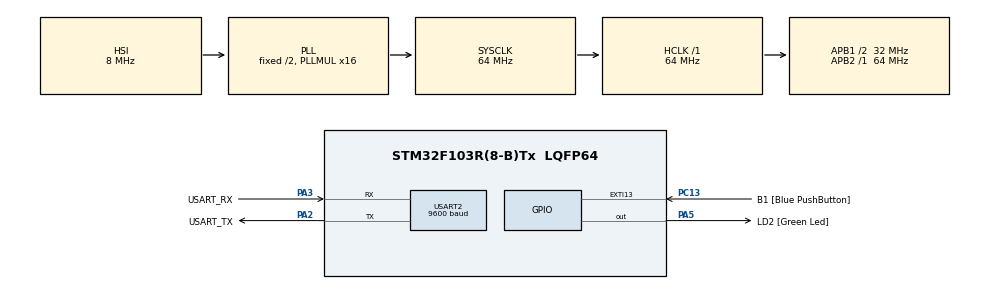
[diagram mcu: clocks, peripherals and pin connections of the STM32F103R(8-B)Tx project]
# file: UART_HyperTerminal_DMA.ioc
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Dma.Request0=USART2_RX
Dma.Request1=USART2_TX
Dma.USART2_RX.0.Direction=DMA_PERIPH_TO_MEMORY
Dma.USART2_RX.0.Instance=DMA1_Channel6
Dma.USART2_RX.0.MemDataAlignment=DMA_MDATAALIGN_BYTE
Dma.USART2_RX.0.MemInc=DMA_MINC_ENABLE
Dma.USART2_RX.0.Mode=DMA_NORMAL
Dma.USART2_RX.0.PeriphDataAlignment=DMA_PDATAALIGN_BYTE
Dma.USART2_RX.0.PeriphInc=DMA_PINC_DISABLE
Dma.USART2_RX.0.Priority=DMA_PRIORITY_HIGH
Dma.USART2_TX.1.Direction=DMA_MEMORY_TO_PERIPH
Dma.USART2_TX.1.Instance=DMA1_Channel7
Dma.USART2_TX.1.MemDataAlignment=DMA_MDATAALIGN_BYTE
Dma.USART2_TX.1.MemInc=DMA_MINC_ENABLE
Dma.USART2_TX.1.Mode=DMA_NORMAL
Dma.USART2_TX.1.PeriphDataAlignment=DMA_PDATAALIGN_BYTE
Dma.USART2_TX.1.PeriphInc=DMA_PINC_DISABLE
Dma.USART2_TX.1.Priority=DMA_PRIORITY_LOW
Mcu.Family=STM32F1
Mcu.Name=STM32F103R(8-B)Tx
Mcu.Package=LQFP64
NVIC.DMA1_Channel6_IRQn=true\:0\:0\:false\:false\:true\:false\:true\:true
NVIC.DMA1_Channel7_IRQn=true\:0\:1\:true\:false\:true\:false\:true\:true
NVIC.EXTI15_10_IRQn=true\:0\:0\:false\:false\:true\:true\:true\:true
NVIC.PriorityGroup=NVIC_PRIORITYGROUP_3
NVIC.USART2_IRQn=true\:0\:1\:true\:false\:true\:true\:true\:true
PA13.GPIO_Label=TMS
PA13.Mode=Serial_Wire
PA13.Signal=SYS_JTMS-SWDIO
PA14.GPIO_Label=TCK
PA14.Mode=Serial_Wire
PA14.Signal=SYS_JTCK-SWCLK
PA2.GPIO_Label=USART_TX
PA2.GPIO_Mode=GPIO_MODE_AF_PP
PA2.GPIO_PuPd=GPIO_NOPULL
PA2.GPIO_Speed=GPIO_SPEED_FREQ_LOW
PA2.Mode=Asynchronous
PA2.Signal=USART2_TX
PA3.GPIO_Label=USART_RX
PA3.GPIO_Mode=GPIO_MODE_AF_PP
PA3.GPIO_PuPd=GPIO_NOPULL
PA3.GPIO_Speed=GPIO_SPEED_FREQ_LOW
PA3.Mode=Asynchronous
PA3.Signal=USART2_RX
PA5.GPIO_Label=LD2 [Green Led]
PA5.GPIO_ModeDefaultOutputPP=GPIO_MODE_OUTPUT_PP
PA5.GPIO_PuPd=GPIO_NOPULL
PA5.GPIO_Speed=GPIO_SPEED_FREQ_LOW
PA5.Signal=GPIO_Output
PB3.GPIO_Label=SWO
PB3.Signal=SYS_JTDO-TRACESWO
PC13-TAMPER-RTC.GPIO_Label=B1 [Blue PushButton]
PC13-TAMPER-RTC.GPIO_PuPd=GPIO_NOPULL
PC13-TAMPER-RTC.Signal=GPXTI13
PC14-OSC32_IN.Mode=LSE-External-Oscillator
PC14-OSC32_IN.Signal=RCC_OSC32_IN
PC15-OSC32_OUT.Mode=LSE-External-Oscillator
PC15-OSC32_OUT.Signal=RCC_OSC32_OUT
PD0-OSC_IN.Mode=HSE-External-Clock-Source
PD0-OSC_IN.Signal=RCC_OSC_IN
PD1-OSC_OUT.Mode=HSE-External-Clock-Source
PD1-OSC_OUT.Signal=RCC_OSC_OUT
ProjectManager.HeapSize=0x200
ProjectManager.StackSize=0x400
ProjectManager.TargetToolchain=STM32CubeIDE
RCC.AHBFreq_Value=64000000
RCC.APB1CLKDivider=RCC_HCLK_DIV2
RCC.APB1Freq_Value=32000000
RCC.APB1TimFreq_Value=64000000
RCC.APB2Freq_Value=64000000
RCC.APB2TimFreq_Value=64000000
RCC.HCLKFreq_Value=64000000
RCC.PLLMUL=RCC_PLL_MUL16
RCC.RTCClockSelection=RCC_RTCCLKSOURCE_LSE
RCC.SYSCLKFreq_VALUE=64000000
RCC.SYSCLKSource=RCC_SYSCLKSOURCE_PLLCLK
RCC.USBFreq_Value=64000000
USART2.BaudRate=9600
USART2.VirtualMode=VM_ASYNC
board=NUCLEO-F103RB

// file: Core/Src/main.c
/* USER CODE BEGIN Header */
/**
  ******************************************************************************
  * @file           : main.c
  * @brief          : Main program body
  ******************************************************************************
  * @attention
  *
  * Copyright (c) 2022 STMicroelectronics.
  * All rights reserved.
  *
  * This software is licensed under terms that can be found in the LICENSE file
  * in the root directory of this software component.
  * If no LICENSE file comes with this software, it is provided AS-IS.
  *
  ******************************************************************************
  */
/* USER CODE END Header */
#include "main.h"

UART_HandleTypeDef huart2;
DMA_HandleTypeDef hdma_usart2_rx;
DMA_HandleTypeDef hdma_usart2_tx;

/* USER CODE BEGIN PV */
/* Buffer used for transmission */
uint8_t aTxBuffer[] = "\n\r ****UART-Hyperterminal communication based on DMA****\n\r Enter 10 characters using keyboard :\n\r";

/* Buffer used for reception */
uint8_t aRxBuffer[RXBUFFERSIZE];
/* USER CODE END PV */

void SystemClock_Config(void);
static void MX_GPIO_Init(void);
static void MX_DMA_Init(void);
static void MX_USART2_UART_Init(void);

int main(void)
{

  /* MCU Configuration--------------------------------------------------------*/

  /* Reset of all peripherals, Initializes the Flash interface and the Systick. */
  HAL_Init();

  /* Configure the system clock */
  SystemClock_Config();

  /* Initialize all configured peripherals */
  MX_GPIO_Init();
  MX_DMA_Init();
  MX_USART2_UART_Init();

  /* Infinite loop */
  /* USER CODE BEGIN WHILE */
  /*##-2- Start the transmission process #####################################*/
  /* User start transmission data through "TxBuffer" buffer */
  if (HAL_UART_Transmit_DMA(&huart2, (uint8_t *)aTxBuffer, TXBUFFERSIZE) != HAL_OK)
  {
    /* Transfer error in transmission process */
    Error_Handler();
  }

  /*##-3- Put UART peripheral in reception process ###########################*/
  /* Any data received will be stored in "RxBuffer" buffer : the number max of
       data received is 10 */
  if (HAL_UART_Receive_DMA(&huart2, (uint8_t *)aRxBuffer, RXBUFFERSIZE) != HAL_OK)
  {
    /* Transfer error in reception process */
    Error_Handler();
  }

  /*##-4- Wait for the end of the transfer ###################################*/
  /*  Before starting a new communication transfer, you need to check the current
        state of the peripheral; if it�s busy you need to wait for the end of current
        transfer before starting a new one.
        For simplicity reasons, this example is just waiting till the end of the
        transfer, but application may perform other tasks while transfer operation
        is ongoing. */
  while (HAL_UART_GetState(&huart2) != HAL_UART_STATE_READY)
  {
  }

  /*##-5- Send the received Buffer ###########################################*/
  if (HAL_UART_Transmit_DMA(&huart2, (uint8_t *)aRxBuffer, RXBUFFERSIZE) != HAL_OK)
  {
    /* Transfer error in transmission process */
    Error_Handler();
  }

  /*##-6- Wait for the end of the transfer ###################################*/
  /*  Before starting a new communication transfer, you need to check the current
        state of the peripheral; if it�s busy you need to wait for the end of current
        transfer before starting a new one.
        For simplicity reasons, this example is just waiting till the end of the
        transfer, but application may perform other tasks while transfer operation
        is ongoing. */
  while (HAL_UART_GetState(&huart2) != HAL_UART_STATE_READY)
  {
  }

  while (1)
  {
    /* USER CODE END WHILE */

    /* USER CODE BEGIN 3 */
    HAL_GPIO_TogglePin(LD2_GPIO_Port, LD2_Pin);
    HAL_Delay(1000);
  }
  /* USER CODE END 3 */
}

void SystemClock_Config(void)
{
  RCC_OscInitTypeDef RCC_OscInitStruct = {0};
  RCC_ClkInitTypeDef RCC_ClkInitStruct = {0};

  /** Initializes the RCC Oscillators according to the specified parameters
  * in the RCC_OscInitTypeDef structure.
  */
  RCC_OscInitStruct.OscillatorType = RCC_OSCILLATORTYPE_HSI;
  RCC_OscInitStruct.HSIState = RCC_HSI_ON;
  RCC_OscInitStruct.HSICalibrationValue = RCC_HSICALIBRATION_DEFAULT;
  RCC_OscInitStruct.PLL.PLLState = RCC_PLL_ON;
  RCC_OscInitStruct.PLL.PLLSource = RCC_PLLSOURCE_HSI_DIV2;
  RCC_OscInitStruct.PLL.PLLMUL = RCC_PLL_MUL16;
  if (HAL_RCC_OscConfig(&RCC_OscInitStruct) != HAL_OK)
  {
    Error_Handler();
  }

  /** Initializes the CPU, AHB and APB buses clocks
  */
  RCC_ClkInitStruct.ClockType = RCC_CLOCKTYPE_HCLK|RCC_CLOCKTYPE_SYSCLK
                              |RCC_CLOCKTYPE_PCLK1|RCC_CLOCKTYPE_PCLK2;
  RCC_ClkInitStruct.SYSCLKSource = RCC_SYSCLKSOURCE_PLLCLK;
  RCC_ClkInitStruct.AHBCLKDivider = RCC_SYSCLK_DIV1;
  RCC_ClkInitStruct.APB1CLKDivider = RCC_HCLK_DIV2;
  RCC_ClkInitStruct.APB2CLKDivider = RCC_HCLK_DIV1;

  if (HAL_RCC_ClockConfig(&RCC_ClkInitStruct, FLASH_LATENCY_2) != HAL_OK)
  {
    Error_Handler();
  }
}

static void MX_USART2_UART_Init(void)
{

  huart2.Instance = USART2;
  huart2.Init.BaudRate = 9600;
  huart2.Init.WordLength = UART_WORDLENGTH_8B;
  huart2.Init.StopBits = UART_STOPBITS_1;
  huart2.Init.Parity = UART_PARITY_NONE;
  huart2.Init.Mode = UART_MODE_TX_RX;
  huart2.Init.HwFlowCtl = UART_HWCONTROL_NONE;
  huart2.Init.OverSampling = UART_OVERSAMPLING_16;
  if (HAL_UART_Init(&huart2) != HAL_OK)
  {
    Error_Handler();
  }

}

static void MX_DMA_Init(void)
{

  /* DMA controller clock enable */
  __HAL_RCC_DMA1_CLK_ENABLE();

  /* DMA interrupt init */
  /* DMA1_Channel6_IRQn interrupt configuration */
  HAL_NVIC_SetPriority(DMA1_Channel6_IRQn, 0, 0);
  HAL_NVIC_EnableIRQ(DMA1_Channel6_IRQn);
  /* DMA1_Channel7_IRQn interrupt configuration */
  HAL_NVIC_SetPriority(DMA1_Channel7_IRQn, 0, 1);
  HAL_NVIC_EnableIRQ(DMA1_Channel7_IRQn);

}

static void MX_GPIO_Init(void)
{
  GPIO_InitTypeDef GPIO_InitStruct = {0};

  /* GPIO Ports Clock Enable */
  __HAL_RCC_GPIOC_CLK_ENABLE();
  __HAL_RCC_GPIOD_CLK_ENABLE();
  __HAL_RCC_GPIOA_CLK_ENABLE();
  __HAL_RCC_GPIOB_CLK_ENABLE();

  /*Configure GPIO pin Output Level */
  HAL_GPIO_WritePin(LD2_GPIO_Port, LD2_Pin, GPIO_PIN_RESET);

  /*Configure GPIO pin : B1_Pin */
  GPIO_InitStruct.Pin = B1_Pin;
  GPIO_InitStruct.Mode = GPIO_MODE_IT_RISING;
  GPIO_InitStruct.Pull = GPIO_NOPULL;
  HAL_GPIO_Init(B1_GPIO_Port, &GPIO_InitStruct);

  /*Configure GPIO pin : LD2_Pin */
  GPIO_InitStruct.Pin = LD2_Pin;
  GPIO_InitStruct.Mode = GPIO_MODE_OUTPUT_PP;
  GPIO_InitStruct.Pull = GPIO_NOPULL;
  GPIO_InitStruct.Speed = GPIO_SPEED_FREQ_LOW;
  HAL_GPIO_Init(LD2_GPIO_Port, &GPIO_InitStruct);

  /* EXTI interrupt init*/
  HAL_NVIC_SetPriority(EXTI15_10_IRQn, 0, 0);
  HAL_NVIC_EnableIRQ(EXTI15_10_IRQn);

}

/* USER CODE BEGIN 4 */
/**
  * @brief  Tx Transfer completed callback
  * @param  huart: UART handle.
  * @note   This example shows a simple way to report end of DMA Tx transfer, and
  *         you can add your own implementation.
  * @retval None
  */
void HAL_UART_TxCpltCallback(UART_HandleTypeDef *huart)
{
  /* Toogle LED2 : Transfer in transmission process is correct */
  HAL_GPIO_WritePin(LD2_GPIO_Port, LD2_Pin, GPIO_PIN_SET);
}

/**
  * @brief  Rx Transfer completed callback
  * @param  huart: UART handle
  * @note   This example shows a simple way to report end of DMA Rx transfer, and
  *         you can add your own implementation.
  * @retval None
  */
void HAL_UART_RxCpltCallback(UART_HandleTypeDef *huart)
{
  /* Turn LED2 on: Transfer in reception process is correct */
  HAL_GPIO_WritePin(LD2_GPIO_Port, LD2_Pin, GPIO_PIN_SET);
}

/**
  * @brief  UART error callbacks
  * @param  huart: UART handle
  * @note   This example shows a simple way to report transfer error, and you can
  *         add your own implementation.
  * @retval None
  */
void HAL_UART_ErrorCallback(UART_HandleTypeDef *huart)
{
  /* Turn LED2 off: Transfer error in reception/transmission process */
  HAL_GPIO_WritePin(LD2_GPIO_Port, LD2_Pin, GPIO_PIN_RESET);
}
/* USER CODE END 4 */

void Error_Handler(void)
{
  __disable_irq();
  while (1)
  {
  }
}
